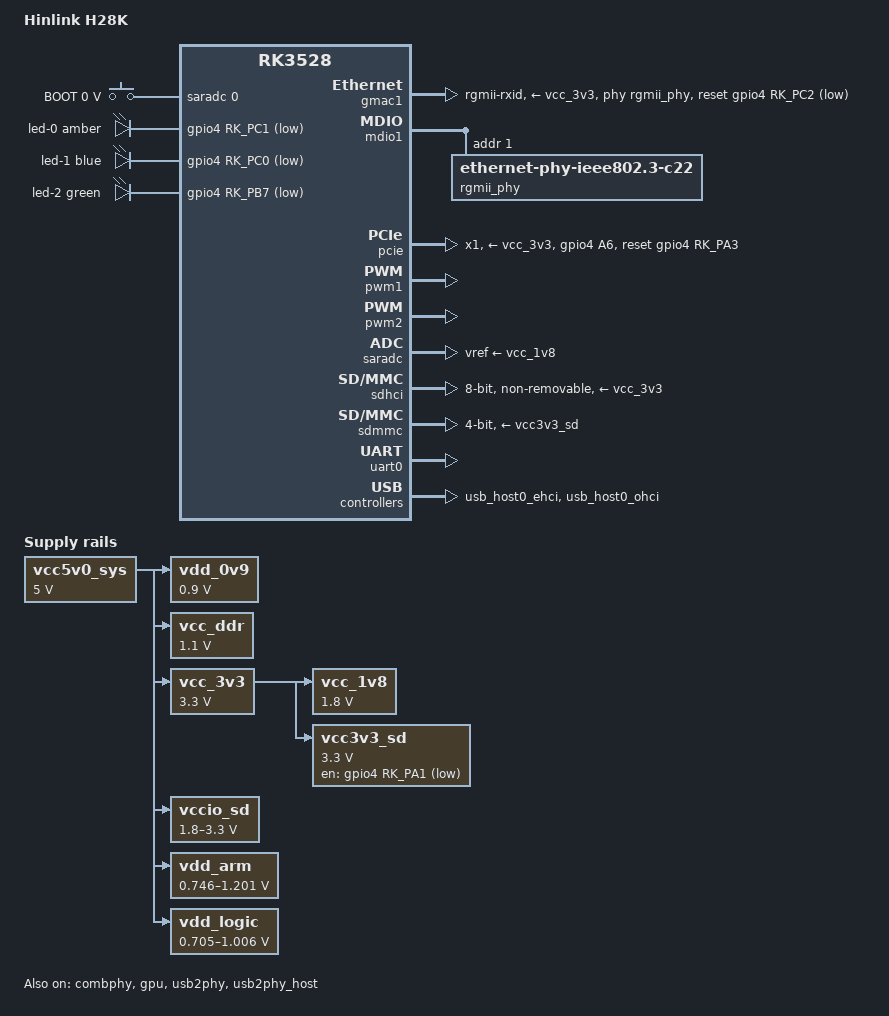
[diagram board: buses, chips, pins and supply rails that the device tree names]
// SPDX-License-Identifier: (GPL-2.0+ OR MIT)
/*
 * HinLink OPC-H28K (RK3528)
 *
 * ★ 本文件已按厂商固件 QWRT-R24.07.07-rockchip-rk35xx-hinlink_h28x 重新更正。
 *   厂商 dtb 已归档为 vendor-h28x.dtb（59319 B，compatible = "hlink,h28k"）。
 *
 * 网络构成：**单网口** —— 只有板载 RGMII(gmac1)
 *
 *   厂商 dtb 三重实证「没有第二网口」：
 *     1. 全树 `pci10ec` 出现 0 次
 *     2. /pcie@fe4f0000 下只有 legacy-interrupt-controller，无网卡子节点
 *     3. aliases 只有 ethernet0 = /ethernet@ffbe0000，无 ethernet1
 *   ⇒ board.d/02_network 对本机只映射 eth0，不设独立WAN。
 *
 * ★ 无板载 WiFi —— 厂商 dtb 里 /mmc@ffbf0000 带 `no-sdio` 属性，
 *   明确禁用 SDIO（RK3528 的 WiFi 走 sdio0）。本 DTS 不声明 sdio 链路，
 *   target 也不带 kmod-aic8800s。
 *   ⚠️ 上游 unifreq 的 rk3528-hlink-h28k.dts 同样没有任何 sdio/wifi 节点，
 *      两侧独立印证「H28K 无 WiFi」。
 *
 * ★ 关于 PCIe：控制器保留 status = "okay"（厂商原值），但**不挂网卡子节点**。
 *   上一轮曾依据上游 rk3528-hlink-h28k.dts 补了 `pcie-eth@10,0`（RTL8111HS），
 *   厂商 dtb 证明那是错的，已移除。详见下方 &pcie 段注释。
 *
 * ★ 关于上、下拉：厂商把 PHY 复位配在 gmac1 的 snps,reset-gpio（GPIO4_C2 低有效），
 *   PHY 节点上反而没有 reset-gpios —— 本 DTS 已改为与厂商一致。
 */

/dts-v1/;

#include <dt-bindings/input/input.h>
#include <dt-bindings/leds/common.h>
#include <dt-bindings/pwm/pwm.h>
#include "rk3528.dtsi"

/ {
	model = "Hinlink H28K";
	compatible = "hlink,h28k", "hinlink,opc-h28k", "hinlink,h28k", "rockchip,rk3528";

	aliases {
		ethernet0 = &gmac1;
		mmc0 = &sdhci;
		mmc1 = &sdmmc;
		serial0 = &uart0;
	};

	chosen {
		stdout-path = "serial0:1500000n8";
	};

	keys {
		compatible = "adc-keys";
		io-channels = <&saradc 0>;
		io-channel-names = "buttons";
		keyup-threshold-microvolt = <1800000>;
		poll-interval = <100>;

		button-boot {
			label = "BOOT";
			linux,code = <KEY_SETUP>;
			press-threshold-microvolt = <0>;
		};
	};

	leds {
		compatible = "gpio-leds";
		pinctrl-names = "default";
		pinctrl-0 = <&lan_led>, <&wan_led>, <&work_led>;

		led-0 {
			color = <LED_COLOR_ID_AMBER>;
			function = LED_FUNCTION_LAN;
			gpios = <&gpio4 RK_PC1 GPIO_ACTIVE_LOW>;
			linux,default-trigger = "netdev";
		};

		led-1 {
			color = <LED_COLOR_ID_BLUE>;
			function = LED_FUNCTION_WAN;
			gpios = <&gpio4 RK_PC0 GPIO_ACTIVE_LOW>;
			linux,default-trigger = "netdev";
		};

		led-2 {
			color = <LED_COLOR_ID_GREEN>;
			function = LED_FUNCTION_STATUS;
			gpios = <&gpio4 RK_PB7 GPIO_ACTIVE_LOW>;
			linux,default-trigger = "default-on";
		};
	};

	vdd_0v9: regulator-0v9-vdd {
		compatible = "regulator-fixed";
		regulator-name = "vdd_0v9";
		regulator-always-on;
		regulator-boot-on;
		regulator-min-microvolt = <900000>;
		regulator-max-microvolt = <900000>;
		vin-supply = <&vcc5v0_sys>;
	};

	vcc_ddr: regulator-1v1-vcc-ddr {
		compatible = "regulator-fixed";
		regulator-name = "vcc_ddr";
		regulator-always-on;
		regulator-boot-on;
		regulator-min-microvolt = <1100000>;
		regulator-max-microvolt = <1100000>;
		vin-supply = <&vcc5v0_sys>;
	};

	vcc_1v8: regulator-1v8-vcc {
		compatible = "regulator-fixed";
		regulator-name = "vcc_1v8";
		regulator-always-on;
		regulator-boot-on;
		regulator-min-microvolt = <1800000>;
		regulator-max-microvolt = <1800000>;
		vin-supply = <&vcc_3v3>;
	};

	vcc_3v3: regulator-3v3-vcc {
		compatible = "regulator-fixed";
		regulator-name = "vcc_3v3";
		regulator-always-on;
		regulator-boot-on;
		regulator-min-microvolt = <3300000>;
		regulator-max-microvolt = <3300000>;
		vin-supply = <&vcc5v0_sys>;
	};

	vcc3v3_sd: regulator-3v3-vcc-sd {
		compatible = "regulator-fixed";
		gpios = <&gpio4 RK_PA1 GPIO_ACTIVE_LOW>;
		pinctrl-names = "default";
		pinctrl-0 = <&sdmmc_pwren_l>;
		regulator-name = "vcc3v3_sd";
		regulator-min-microvolt = <3300000>;
		regulator-max-microvolt = <3300000>;
		vin-supply = <&vcc_3v3>;
	};

	vcc5v0_sys: regulator-5v0-vcc-sys {
		compatible = "regulator-fixed";
		regulator-name = "vcc5v0_sys";
		regulator-always-on;
		regulator-boot-on;
		regulator-min-microvolt = <5000000>;
		regulator-max-microvolt = <5000000>;
	};

	vccio_sd: regulator-vccio-sd {
		compatible = "regulator-gpio";
		gpios = <&gpio4 RK_PB6 GPIO_ACTIVE_HIGH>;
		pinctrl-names = "default";
		pinctrl-0 = <&sdmmc_vol_ctrl_h>;
		regulator-name = "vccio_sd";
		regulator-min-microvolt = <1800000>;
		regulator-max-microvolt = <3300000>;
		states = <1800000 0x0>, <3300000 0x1>;
		vin-supply = <&vcc5v0_sys>;
	};

	vdd_arm: regulator-vdd-arm {
		compatible = "pwm-regulator";
		pwms = <&pwm1 0 5000 PWM_POLARITY_INVERTED>;
		pwm-supply = <&vcc5v0_sys>;
		regulator-name = "vdd_arm";
		regulator-always-on;
		regulator-boot-on;
		regulator-min-microvolt = <746000>;
		regulator-max-microvolt = <1201000>;
		regulator-settling-time-up-us = <250>;
	};

	vdd_logic: regulator-vdd-logic {
		compatible = "pwm-regulator";
		pwms = <&pwm2 0 5000 PWM_POLARITY_INVERTED>;
		pwm-supply = <&vcc5v0_sys>;
		regulator-name = "vdd_logic";
		regulator-always-on;
		regulator-boot-on;
		regulator-min-microvolt = <705000>;
		regulator-max-microvolt = <1006000>;
		regulator-settling-time-up-us = <250>;
	};
};

&combphy {
	status = "okay";
};

&cpu0 {
	cpu-supply = <&vdd_arm>;
};

&cpu1 {
	cpu-supply = <&vdd_arm>;
};

&cpu2 {
	cpu-supply = <&vdd_arm>;
};

&cpu3 {
	cpu-supply = <&vdd_arm>;
};

/*
 * 网口 1/1：板载 RGMII —— 全部为厂商 dtb 原值
 *
 * ★ 厂商 QWRT-R24.07.07 (h28x) 解出的 dtb 实证：
 *   phy-mode       = "rgmii-rxid"   ← 不是 rgmii-id
 *   tx_delay       = 59 (0x3b)
 *   rx_delay       = 无（内核 dtsi 默认）
 *   reset-gpio     = gpio4 pin18 = GPIO4_C2，低有效
 *   reset-delays-us= <0 20000 100000>
 *   pinctrl-0      = rgmii_miim / rgmii_tx_bus2 / rgmii_rx_bus2
 *                    / rgmii_rgmii_clk / rgmii_rgmii_bus
 *
 * ⚠️ 复位脚的写法与本文件原先不同：厂商把复位配在 gmac1 节点的
 *    snps,reset-gpio 上，而 PHY 节点（ethernet-phy@1）上**没有** reset-gpios。
 *    本 DTS 改为与厂商一致。
 */
&gmac1 {
	clock_in_out = "output";
	phy-handle = <&rgmii_phy>;
	phy-mode = "rgmii-rxid";
	phy-supply = <&vcc_3v3>;
	tx_delay = <0x3b>;

	snps,reset-gpio = <&gpio4 RK_PC2 GPIO_ACTIVE_LOW>;
	snps,reset-active-low;
	snps,reset-delays-us = <0 20000 100000>;

	pinctrl-names = "default";
	pinctrl-0 = <&rgmii_miim>,
		    <&rgmii_tx_bus2>,
		    <&rgmii_rx_bus2>,
		    <&rgmii_rgmii_clk>,
		    <&rgmii_rgmii_bus>;
	status = "okay";
};

&gpu {
	mali-supply = <&vdd_logic>;
	status = "okay";
};

/* PHY 只有地址与中断配置 —— 复位由 gmac1 的 snps,reset-gpio 负责 */
&mdio1 {
	rgmii_phy: ethernet-phy@1 {
		compatible = "ethernet-phy-ieee802.3-c22";
		reg = <0x1>;
	};
};

/*
 * PCIe 控制器（厂商 dtb 里 status = "okay"，但**下面没有任何网卡子节点**）
 *
 * ★ 厂商 QWRT-R24.07.07 (h28x) dtb 实证 —— H28K 是**单网口**：
 *   - 全树 `pci10ec` 出现 0 次
 *   - /pcie@fe4f0000 下只有 legacy-interrupt-controller，
 *     没有任何 pcie@0,0 / pcie-eth@ 子节点
 *   - aliases 里只有 ethernet0 = /ethernet@ffbe0000 (gmac1)，无 ethernet1
 *
 * ⚠️ 因此本 DTS **不挂 pcie-eth 子节点**。
 *   上一轮曾依据上游 unifreq 的 rk3528-hlink-h28k.dts 补了
 *   `pcie-eth@10,0 { compatible = "pci10ec,8168"; }`，
 *   厂商 dtb 证明那是**错的** —— H28K 板上没有那颗 RTL8111HS，已移除。
 *
 *   PCIe 口仍保留 status = "okay"（与厂商一致），供 M.2 扩展位使用；
 *   若插入扩展网卡，PCI 枚举会自动产生 eth1，届时再补 02_network 分支。
 *   num-lanes 与 max-link-speed 用厂商原值。
 */
&pcie {
	pinctrl-names = "default";
	pinctrl-0 = <&rtl8111hs_isolateb_l>;
	reset-gpios = <&gpio4 RK_PA3 GPIO_ACTIVE_HIGH>;
	vpcie3v3-supply = <&vcc_3v3>;
	max-link-speed = <0x2>;
	num-lanes = <0x1>;
	status = "okay";
};

&pinctrl {
	/* 注：gmac1_rstn_l 已移除 —— 厂商 dtb 把 PHY 复位配在 gmac1 的
	 * snps,reset-gpio 上，不走 pinctrl 节点。 */

	leds {
		lan_led: lan-led {
			rockchip,pins = <4 RK_PC1 RK_FUNC_GPIO &pcfg_pull_none>;
		};

		wan_led: wan-led {
			rockchip,pins = <4 RK_PC0 RK_FUNC_GPIO &pcfg_pull_none>;
		};

		work_led: work-led {
			rockchip,pins = <4 RK_PB7 RK_FUNC_GPIO &pcfg_pull_none>;
		};
	};

	pcie {
		rtl8111hs_isolateb_l: rtl8111hs-isolateb-l {
			rockchip,pins = <4 RK_PA6 RK_FUNC_GPIO &pcfg_pull_up>;
		};
	};

	sdmmc {
		sdmmc_pwren_l: sdmmc-pwren-l {
			rockchip,pins = <4 RK_PA1 RK_FUNC_GPIO &pcfg_pull_none>;
		};

		sdmmc_vol_ctrl_h: sdmmc-vol-ctrl-h {
			rockchip,pins = <4 RK_PB6 RK_FUNC_GPIO &pcfg_pull_none>;
		};
	};
};

&pwm1 {
	pinctrl-names = "default";
	pinctrl-0 = <&pwm1m0_pins>;
	status = "okay";
};

&pwm2 {
	pinctrl-names = "default";
	pinctrl-0 = <&pwm2m0_pins>;
	status = "okay";
};

&saradc {
	vref-supply = <&vcc_1v8>;
	status = "okay";
};

&sdhci {
	bus-width = <8>;
	cap-mmc-highspeed;
	mmc-hs200-1_8v;
	non-removable;
	vmmc-supply = <&vcc_3v3>;
	vqmmc-supply = <&vcc_1v8>;
	status = "okay";
};

&sdmmc {
	bus-width = <4>;
	cap-sd-highspeed;
	disable-wp;
	sd-uhs-sdr104;
	vmmc-supply = <&vcc3v3_sd>;
	vqmmc-supply = <&vccio_sd>;
	status = "okay";
};

&uart0 {
	pinctrl-names = "default";
	pinctrl-0 = <&uart0m0_xfer>;
	status = "okay";
};

&usb2phy {
	status = "okay";
};

&usb2phy_host {
	phy-supply = <&vcc5v0_sys>;
	status = "okay";
};

&usb_host0_ehci {
	status = "okay";
};

&usb_host0_ohci {
	status = "okay";
};
